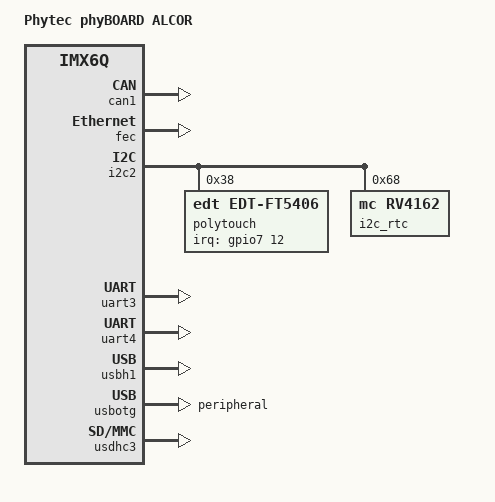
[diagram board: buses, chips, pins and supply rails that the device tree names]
/*
 * Copyright 2014 Christian Hemp, Phytec Messtechnik GmbH
 *
 * The code contained herein is licensed under the GNU General Public
 * License. You may obtain a copy of the GNU General Public License
 * Version 2 or later at the following locations:
 *
 * http://www.opensource.org/licenses/gpl-license.html
 * http://www.gnu.org/copyleft/gpl.html
 */

/dts-v1/;
#include "imx6q-phytec-pfla02.dtsi"
#include "imx6qdl-phytec-lcd.dtsi"
#include <dt-bindings/pwm/pwm.h>

/ {
	model = "Phytec phyBOARD ALCOR";
	compatible = "phytec,imx6q-pbab02", "phytec,imx6q-pfla02", "fsl,imx6q";

	aliases {
		rtc0 = &i2c_rtc;
	};

	chosen {
		stdout-path = &uart4;
	};

	backlight {
		pwms = <&pwm1 0 5000000 PWM_POLARITY_INVERTED>;
		brightness-levels = <255 128 64 32 16 8 4 0>;
		enable-gpios = <&gpio1 8 GPIO_ACTIVE_LOW>;
	};
};

&can1 {
/*	gpio = <&gpio4 5 0>; CAN enable GPIO must fix */
	status = "okay";
};

&ethphy {
	max-speed = <100>;
};

&fec {
	status = "okay";
};

&i2c2 {
	status = "okay";

	polytouch: edt-ft5x06@38 {
		compatible = "edt,edt-ft5406", "edt,edt-ft5x06";
		reg = <0x38>;
		pinctrl-names = "default";
		pinctrl-0 = <&pinctrl_edt_ft5x06>;
		interrupt-parent = <&gpio7>;
		interrupts = <12 0>;
		touchscreen-inverted-x;
		touchscreen-inverted-y;
	};

	i2c_rtc: rtc@68 {
		compatible = "mc,rv4162";
		reg = <0x68>;
	};
};

/* RS485 */
&uart3 {
	status = "okay";
	fsl,uart-has-rtscts;
	linux,rs485-enabled-at-boot-time;
	rs485-rts-active-high;
};

&uart4 {
	status = "okay";
};

&usbh1 {
	status = "okay";
};

&usbotg {
	dr_mode = "peripheral";
	status = "okay";
};

&usdhc3 {
	status = "okay";
	max-frequency = <25000000>; /* 25 Mhz */
};
